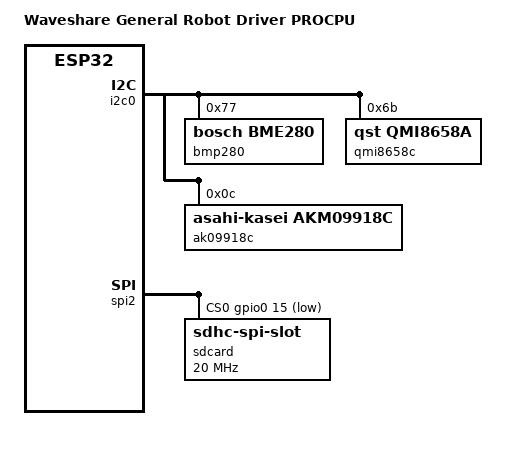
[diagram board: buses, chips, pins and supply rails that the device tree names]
/dts-v1/;

#include <espressif/esp32/esp32.dtsi>
#include "robot_driver-pinctrl.dtsi"
#include "waveshare_driver_common.dtsi"

/ {
	model = "Waveshare General Robot Driver PROCPU";
};

/*
 * 16MB on the WROOM-32UE-N16. Zephyr removed the per-module SoC dtsi files
 * (esp32_wroom_32ue_n16.dtsi and every sibling) in upstream 8094e612, "dts:
 * espressif: remove the per-module SoC dtsi and Kconfig symbols", so the flash
 * size is the board's to declare -- and it has to be, because the table below
 * runs to 0x850000 and the partitions otherwise have no flash to sit in.
 *
 * FIXME: this table is this board's own rather than one of Zephyr's
 * partitions_0x1000_amp_*.dtsi, and it has no APPCPU slot, which is why
 * robot_driver_appcpu.dts carries a second, contradictory table for the same
 * physical flash. partitions_0x1000_amp_16M.dtsi exists and would fix both.
 * Changing it moves every partition on a flashed board, so it needs a full
 * erase and a hardware verification pass, not a build.
 */
&flash0 {
	reg = <0x0 DT_SIZE_M(16)>;
	ranges = <0x0 0x0 DT_SIZE_M(16)>;
	status = "okay";
	partitions {
		compatible = "fixed-partitions";
		#address-cells = <1>;
		#size-cells = <1>;

		/* Reserve 60kB for the bootloader */
		boot_partition: partition@1000 {
			label = "mcuboot";
			reg = <0x00001000 DT_SIZE_K(60)>;
			read-only;
		};

		/* Reserve 4MB for the application in slot 0 */
		slot0_partition: partition@10000 {
			label = "image-0";
			reg = <0x00010000 DT_SIZE_M(4)>;
		};

		/* Reserve 4MB for the application in slot 1 */
		slot1_partition: partition@410000 {
			label = "image-1";
			reg = <0x00410000 DT_SIZE_M(4)>;
		};

		/* No image-scratch: MCUboot runs CONFIG_BOOT_SWAP_USING_MOVE, which
		 * swaps in place and never uses a scratch area. Re-add one here if
		 * CONFIG_BOOT_SWAP_USING_SCRATCH is ever selected.
		 */

		storage_partition: partition@810000 {
			label = "storage";
			reg = <0x00810000 DT_SIZE_K(256)>;
		};
	};
};

&i2c0 {
	/* BMP280 barometric pressure/temperature sensor (SDO high => 0x77).
	 * The BME280 driver also drives the BMP280 (it dispatches on chip id).
	 * NOTE (2026-08-03): not fitted on the unit tested here -- `i2c scan` finds
	 * nothing at either 0x77 or 0x76, so this device stays DISABLED and every
	 * `sensor get bmp280` fails. Left enabled for board variants that do carry
	 * it; set status = "disabled" if none of yours do. */
	bmp280: bmp280@77 {
		compatible = "bosch,bme280";
		reg = <0x77>;
	};

	/* QMI8658C 6-axis IMU. SA0 is pulled HIGH on this board, so the address is
	 * 0x6b, not the 0x6a the datasheet lists first -- at 0x6a the driver's
	 * WHO_AM_I read got no reply and the device stayed DISABLED (visible only
	 * via `device list`, since a failed sensor init is not otherwise announced).
	 * Confirmed with `i2c scan i2c@3ff53000`: 0x0c, 0x3c, 0x42, 0x6b respond.
	 * The qst,qmi8658a driver matches the C variant: same register map and
	 * WHO_AM_I (0x05). Data-ready INT is not wired, so the driver runs in
	 * polling mode (QMI8658A_TRIGGER_NONE). */
	qmi8658c: qmi8658c@6b {
		compatible = "qst,qmi8658a";
		reg = <0x6b>;
	};

	/* AK09918C 3-axis magnetometer. Fixed I2C address 0x0c (no address-select
	 * pins on the part). Polling mode; DRDY not wired. */
	ak09918c: ak09918c@c {
		compatible = "asahi-kasei,akm09918c";
		reg = <0x0c>;
	};
};

&spi2 {
	/* MicroSD card in SPI mode: SCLK=GPIO14, MOSI(CMD)=GPIO13, MISO(D0)=GPIO12.
	 * The SD CD/DAT3 pin is the chip-select on GPIO15, driven as a GPIO (see the
	 * pinctrl note) so it stays asserted across the SD SPI command sequences. */
	cs-gpios = <&gpio0 15 GPIO_ACTIVE_LOW>;

	sdcard: sdhc@0 {
		compatible = "zephyr,sdhc-spi-slot";
		reg = <0>;
		status = "okay";
		spi-max-frequency = <20000000>;

		mmc {
			compatible = "zephyr,sdmmc-disk";
			disk-name = "SD";
			status = "okay";
		};
	};
};
